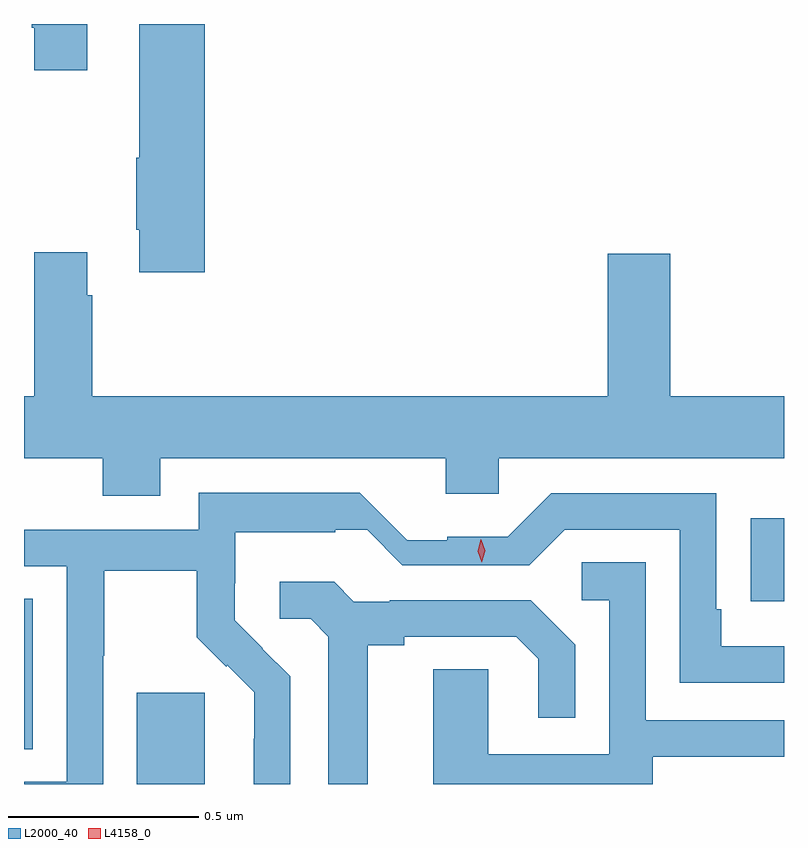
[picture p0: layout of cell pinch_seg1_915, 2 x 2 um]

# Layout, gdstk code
import gdstk
lib = gdstk.Library(unit=1e-6, precision=1e-09)
def R(c, l, rs):  # rectangles x0, y0, x1, y1
    for r in rs: c.add(gdstk.rectangle(r[:2], r[2:], *l))
def P(c, l, *ps):  # polygons
    for p in ps: c.add(gdstk.Polygon(p, *l))
L2000_40 = (2000, 40)
L4158_0 = (4158, 0)

pinch_seg1_915 = lib.new_cell('pinch_seg1_915')
R(pinch_seg1_915, L2000_40, [(619.313,508.251,619.492,508.491), (619.016,508.342,619.039,508.739), (620.929,508.732,621.016,508.951)])
P(pinch_seg1_915, L2000_40, [(619.492,510.251),(619.319,510.251),(619.319,509.899),(619.312,509.899),(619.312,509.71),(619.319,509.71),(619.319,509.598),(619.492,509.598)],
  [(619.183,510.251),(619.036,510.251),(619.036,510.241),(619.043,510.241),(619.043,510.129),(619.183,510.129)],
  [(619.223,509.009),(619.375,509.009),(619.375,509.108),(620.126,509.108),(620.126,509.015),(620.265,509.015),(620.265,509.108),(621.016,509.108),(621.016,509.272),(620.716,509.272),(620.716,509.647),(620.552,509.647),(620.552,509.272),(619.196,509.272),(619.196,509.537),(619.183,509.537),(619.183,509.65),(619.043,509.65),(619.043,509.272),(619.016,509.272),(619.016,509.108),(619.223,509.108)],
  [(619.224,508.588),(619.227,508.588),(619.227,508.812),(619.471,508.812),(619.471,508.637),(619.548,508.56),(619.551,508.563),(619.622,508.493),(619.622,508.37),(619.62,508.37),(619.62,508.251),(619.716,508.251),(619.716,508.534),(619.643,508.607),(619.644,508.608),(619.57,508.682),(619.57,508.779),(619.572,508.779),(619.572,508.913),(619.835,508.913),(619.835,508.92),(619.919,508.92),(620.012,508.827),(620.346,508.827),(620.439,508.92),(620.742,508.92),(620.742,508.518),(621.016,508.518),(621.016,508.614),(620.851,508.614),(620.851,508.711),(620.838,508.711),(620.838,509.016),(620.403,509.016),(620.289,508.902),(620.13,508.902),(620.13,508.893),(620.024,508.893),(619.9,509.017),(619.476,509.017),(619.476,508.92),(619.016,508.92),(619.016,508.824),(619.128,508.824),(619.128,508.257),(619.016,508.257),(619.016,508.251),(619.224,508.251)],
  [(620.671,508.323),(621.016,508.323),(621.016,508.419),(620.652,508.419),(620.652,508.835),(620.484,508.835),(620.484,508.734),(620.556,508.734),(620.556,508.329),(620.238,508.329),(620.238,508.553),(620.093,508.553),(620.093,508.251),(620.671,508.251)],
  [(619.921,508.616),(620.017,508.616),(620.017,508.638),(620.312,508.638),(620.369,508.581),(620.369,508.425),(620.466,508.425),(620.466,508.618),(620.35,508.734),(619.978,508.734),(619.978,508.731),(619.884,508.731),(619.832,508.783),(619.689,508.783),(619.689,508.686),(619.77,508.686),(619.817,508.639),(619.817,508.251),(619.921,508.251)])
P(pinch_seg1_915, L4158_0, [(620.22,508.835),(620.21,508.864),(620.218,508.894),(620.218,508.895),(620.219,508.894),(620.23,508.865),(620.221,508.835),(620.221,508.835)])

lib.write_gds('pinch_seg1_915.gds')
